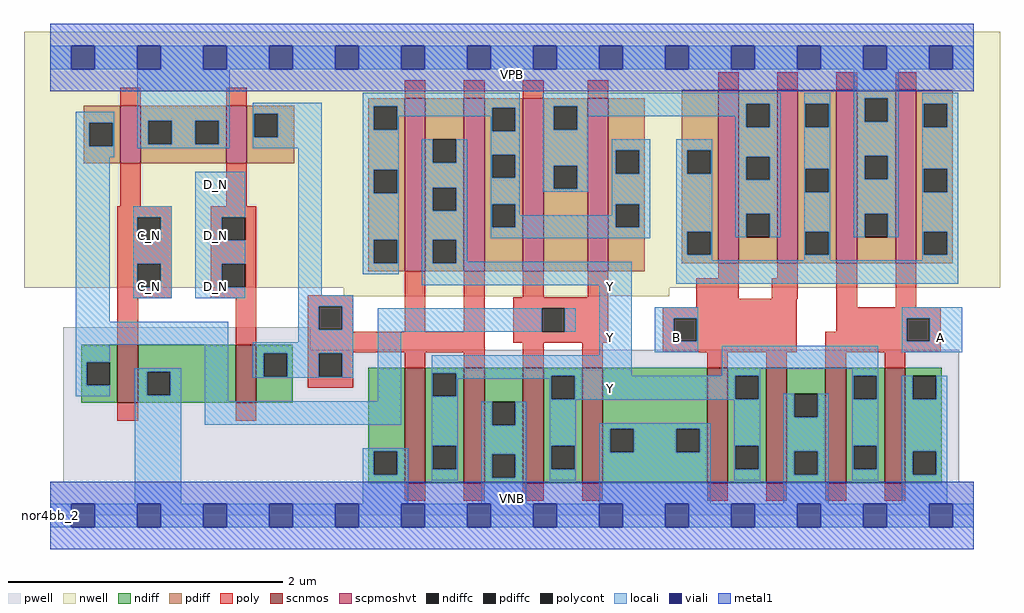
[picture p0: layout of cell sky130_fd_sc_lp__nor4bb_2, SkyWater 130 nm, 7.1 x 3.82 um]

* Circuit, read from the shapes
.subckt sky130_fd_sc_lp__nor4bb_2 A B C_N D_N VGND VNB VPB VPWR Y
XM1 VGND C_N n1 VNB sky130_fd_pr__nfet_01v8 w=0.42 l=0.15
XM2 n2 D_N VGND VNB sky130_fd_pr__nfet_01v8 w=0.42 l=0.15
XM3 Y n2 VGND VNB sky130_fd_pr__nfet_01v8 w=0.84 l=0.15 m=2
XM4 Y n1 VGND VNB sky130_fd_pr__nfet_01v8 w=0.84 l=0.15 m=2
XM5 Y B VGND VNB sky130_fd_pr__nfet_01v8 w=0.84 l=0.15 m=2
XM6 Y A VGND VNB sky130_fd_pr__nfet_01v8 w=0.84 l=0.15 m=2
XM7 VPWR C_N n1 VPB sky130_fd_pr__pfet_01v8_hvt w=0.42 l=0.15
XM8 n2 D_N VPWR VPB sky130_fd_pr__pfet_01v8_hvt w=0.42 l=0.15
XM9 Y n2 n3 VPB sky130_fd_pr__pfet_01v8_hvt w=1.26 l=0.15 m=2
XM10 n4 n1 n3 VPB sky130_fd_pr__pfet_01v8_hvt w=1.26 l=0.15 m=2
XM11 n4 B n5 VPB sky130_fd_pr__pfet_01v8_hvt w=1.26 l=0.15 m=2
XM12 VPWR A n5 VPB sky130_fd_pr__pfet_01v8_hvt w=1.26 l=0.15 m=2
.ends

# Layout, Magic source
magic
tech sky130A
magscale 1 2
<< nwell >>
rect -38 331 1382 704
rect 427 319 901 331
<< pwell >>
rect 19 241 379 274
rect 19 49 1323 241
rect 0 0 1344 49
<< scnmos >>
rect 98 164 128 248
rect 270 164 300 248
rect 516 47 546 215
rect 602 47 632 215
rect 688 47 718 215
rect 774 47 804 215
rect 956 47 986 215
rect 1042 47 1072 215
rect 1128 47 1158 215
rect 1214 47 1244 215
<< scpmoshvt >>
rect 102 512 132 596
rect 256 512 286 596
rect 516 355 546 607
rect 602 355 632 607
rect 688 355 718 607
rect 782 355 812 607
rect 972 367 1002 619
rect 1058 367 1088 619
rect 1144 367 1174 619
rect 1230 367 1260 619
<< ndiff >>
rect 45 223 98 248
rect 45 189 53 223
rect 87 189 98 223
rect 45 164 98 189
rect 128 209 270 248
rect 128 175 141 209
rect 175 175 270 209
rect 128 164 270 175
rect 300 236 353 248
rect 300 202 311 236
rect 345 202 353 236
rect 300 164 353 202
rect 463 93 516 215
rect 463 59 471 93
rect 505 59 516 93
rect 463 47 516 59
rect 546 207 602 215
rect 546 173 557 207
rect 591 173 602 207
rect 546 101 602 173
rect 546 67 557 101
rect 591 67 602 101
rect 546 47 602 67
rect 632 165 688 215
rect 632 131 643 165
rect 677 131 688 165
rect 632 89 688 131
rect 632 55 643 89
rect 677 55 688 89
rect 632 47 688 55
rect 718 203 774 215
rect 718 169 729 203
rect 763 169 774 203
rect 718 101 774 169
rect 718 67 729 101
rect 763 67 774 101
rect 718 47 774 67
rect 804 126 956 215
rect 804 92 815 126
rect 849 92 911 126
rect 945 92 956 126
rect 804 47 956 92
rect 986 203 1042 215
rect 986 169 997 203
rect 1031 169 1042 203
rect 986 101 1042 169
rect 986 67 997 101
rect 1031 67 1042 101
rect 986 47 1042 67
rect 1072 177 1128 215
rect 1072 143 1083 177
rect 1117 143 1128 177
rect 1072 93 1128 143
rect 1072 59 1083 93
rect 1117 59 1128 93
rect 1072 47 1128 59
rect 1158 203 1214 215
rect 1158 169 1169 203
rect 1203 169 1214 203
rect 1158 101 1214 169
rect 1158 67 1169 101
rect 1203 67 1214 101
rect 1158 47 1214 67
rect 1244 203 1297 215
rect 1244 169 1255 203
rect 1289 169 1297 203
rect 1244 93 1297 169
rect 1244 59 1255 93
rect 1289 59 1297 93
rect 1244 47 1297 59
<< pdiff >>
rect 49 571 102 596
rect 49 537 57 571
rect 91 537 102 571
rect 49 512 102 537
rect 132 574 256 596
rect 132 540 143 574
rect 177 540 211 574
rect 245 540 256 574
rect 132 512 256 540
rect 286 584 355 596
rect 286 550 297 584
rect 331 550 355 584
rect 286 512 355 550
rect 463 595 516 607
rect 463 561 471 595
rect 505 561 516 595
rect 463 503 516 561
rect 463 469 471 503
rect 505 469 516 503
rect 463 401 516 469
rect 463 367 471 401
rect 505 367 516 401
rect 463 355 516 367
rect 546 547 602 607
rect 546 513 557 547
rect 591 513 602 547
rect 546 477 602 513
rect 546 443 557 477
rect 591 443 602 477
rect 546 401 602 443
rect 546 367 557 401
rect 591 367 602 401
rect 546 355 602 367
rect 632 593 688 607
rect 632 559 643 593
rect 677 559 688 593
rect 632 525 688 559
rect 632 491 643 525
rect 677 491 688 525
rect 632 453 688 491
rect 632 419 643 453
rect 677 419 688 453
rect 632 355 688 419
rect 718 595 782 607
rect 718 561 733 595
rect 767 561 782 595
rect 718 509 782 561
rect 718 475 733 509
rect 767 475 782 509
rect 718 355 782 475
rect 812 531 865 607
rect 812 497 823 531
rect 857 497 865 531
rect 812 453 865 497
rect 812 419 823 453
rect 857 419 865 453
rect 812 355 865 419
rect 919 531 972 619
rect 919 497 927 531
rect 961 497 972 531
rect 919 413 972 497
rect 919 379 927 413
rect 961 379 972 413
rect 919 367 972 379
rect 1002 599 1058 619
rect 1002 565 1013 599
rect 1047 565 1058 599
rect 1002 522 1058 565
rect 1002 488 1013 522
rect 1047 488 1058 522
rect 1002 439 1058 488
rect 1002 405 1013 439
rect 1047 405 1058 439
rect 1002 367 1058 405
rect 1088 599 1144 619
rect 1088 565 1099 599
rect 1133 565 1144 599
rect 1088 504 1144 565
rect 1088 470 1099 504
rect 1133 470 1144 504
rect 1088 413 1144 470
rect 1088 379 1099 413
rect 1133 379 1144 413
rect 1088 367 1144 379
rect 1174 607 1230 619
rect 1174 573 1185 607
rect 1219 573 1230 607
rect 1174 523 1230 573
rect 1174 489 1185 523
rect 1219 489 1230 523
rect 1174 439 1230 489
rect 1174 405 1185 439
rect 1219 405 1230 439
rect 1174 367 1230 405
rect 1260 599 1313 619
rect 1260 565 1271 599
rect 1305 565 1313 599
rect 1260 504 1313 565
rect 1260 470 1271 504
rect 1305 470 1313 504
rect 1260 413 1313 470
rect 1260 379 1271 413
rect 1305 379 1313 413
rect 1260 367 1313 379
<< ndiffc >>
rect 53 189 87 223
rect 141 175 175 209
rect 311 202 345 236
rect 471 59 505 93
rect 557 173 591 207
rect 557 67 591 101
rect 643 131 677 165
rect 643 55 677 89
rect 729 169 763 203
rect 729 67 763 101
rect 815 92 849 126
rect 911 92 945 126
rect 997 169 1031 203
rect 997 67 1031 101
rect 1083 143 1117 177
rect 1083 59 1117 93
rect 1169 169 1203 203
rect 1169 67 1203 101
rect 1255 169 1289 203
rect 1255 59 1289 93
<< pdiffc >>
rect 57 537 91 571
rect 143 540 177 574
rect 211 540 245 574
rect 297 550 331 584
rect 471 561 505 595
rect 471 469 505 503
rect 471 367 505 401
rect 557 513 591 547
rect 557 443 591 477
rect 557 367 591 401
rect 643 559 677 593
rect 643 491 677 525
rect 643 419 677 453
rect 733 561 767 595
rect 733 475 767 509
rect 823 497 857 531
rect 823 419 857 453
rect 927 497 961 531
rect 927 379 961 413
rect 1013 565 1047 599
rect 1013 488 1047 522
rect 1013 405 1047 439
rect 1099 565 1133 599
rect 1099 470 1133 504
rect 1099 379 1133 413
rect 1185 573 1219 607
rect 1185 489 1219 523
rect 1185 405 1219 439
rect 1271 565 1305 599
rect 1271 470 1305 504
rect 1271 379 1305 413
<< poly >>
rect 102 596 132 622
rect 256 596 286 622
rect 516 607 546 633
rect 602 607 632 633
rect 688 607 718 633
rect 782 607 812 633
rect 972 619 1002 645
rect 1058 619 1088 645
rect 1144 619 1174 645
rect 1230 619 1260 645
rect 102 450 132 512
rect 256 450 286 512
rect 98 434 177 450
rect 98 400 127 434
rect 161 400 177 434
rect 98 366 177 400
rect 98 332 127 366
rect 161 332 177 366
rect 98 316 177 332
rect 234 434 300 450
rect 234 400 250 434
rect 284 400 300 434
rect 234 366 300 400
rect 234 332 250 366
rect 284 332 300 366
rect 234 316 300 332
rect 98 248 128 316
rect 270 248 300 316
rect 375 304 441 320
rect 375 270 391 304
rect 425 270 441 304
rect 375 267 441 270
rect 516 267 546 355
rect 602 267 632 355
rect 688 317 718 355
rect 782 317 812 355
rect 972 345 1002 367
rect 1058 345 1088 367
rect 375 237 632 267
rect 674 301 812 317
rect 940 315 1002 345
rect 1050 315 1088 345
rect 940 303 1086 315
rect 674 267 715 301
rect 749 267 812 301
rect 674 251 812 267
rect 891 287 1086 303
rect 891 253 907 287
rect 941 253 1086 287
rect 1144 303 1174 367
rect 1230 303 1260 367
rect 1144 287 1296 303
rect 1144 267 1246 287
rect 375 236 441 237
rect 375 202 391 236
rect 425 202 441 236
rect 516 215 546 237
rect 602 215 632 237
rect 688 215 718 251
rect 774 215 804 251
rect 891 237 1086 253
rect 1128 253 1246 267
rect 1280 253 1296 287
rect 1128 237 1296 253
rect 956 215 986 237
rect 1042 215 1072 237
rect 1128 215 1158 237
rect 1214 215 1244 237
rect 375 186 441 202
rect 98 138 128 164
rect 270 138 300 164
rect 516 21 546 47
rect 602 21 632 47
rect 688 21 718 47
rect 774 21 804 47
rect 956 21 986 47
rect 1042 21 1072 47
rect 1128 21 1158 47
rect 1214 21 1244 47
<< polycont >>
rect 127 400 161 434
rect 127 332 161 366
rect 250 400 284 434
rect 250 332 284 366
rect 391 270 425 304
rect 715 267 749 301
rect 907 253 941 287
rect 391 202 425 236
rect 1246 253 1280 287
<< locali >>
rect 0 649 31 683
rect 65 649 127 683
rect 161 649 223 683
rect 257 649 319 683
rect 353 649 415 683
rect 449 649 511 683
rect 545 649 607 683
rect 641 649 703 683
rect 737 649 799 683
rect 833 649 895 683
rect 929 649 991 683
rect 1025 649 1087 683
rect 1121 649 1183 683
rect 1217 649 1279 683
rect 1313 649 1344 683
rect 37 571 93 587
rect 37 537 57 571
rect 91 537 93 571
rect 37 521 93 537
rect 127 574 261 649
rect 127 540 143 574
rect 177 540 211 574
rect 245 540 261 574
rect 127 534 261 540
rect 295 584 395 600
rect 295 550 297 584
rect 331 550 395 584
rect 295 534 395 550
rect 37 282 87 521
rect 121 434 177 450
rect 121 400 127 434
rect 161 400 177 434
rect 121 366 177 400
rect 121 332 127 366
rect 161 332 177 366
rect 121 316 177 332
rect 211 434 284 500
rect 211 400 250 434
rect 211 366 284 400
rect 211 332 250 366
rect 211 316 284 332
rect 361 320 395 534
rect 455 595 683 615
rect 455 561 471 595
rect 505 593 683 595
rect 505 581 643 593
rect 505 561 507 581
rect 455 503 507 561
rect 641 559 643 581
rect 677 559 683 593
rect 455 469 471 503
rect 505 469 507 503
rect 455 401 507 469
rect 455 367 471 401
rect 505 367 507 401
rect 455 351 507 367
rect 541 513 557 547
rect 591 513 607 547
rect 541 477 607 513
rect 541 443 557 477
rect 591 443 607 477
rect 541 401 607 443
rect 641 525 683 559
rect 641 491 643 525
rect 677 491 683 525
rect 641 453 683 491
rect 717 599 1063 615
rect 717 595 1013 599
rect 717 561 733 595
rect 767 581 1013 595
rect 767 561 783 581
rect 717 509 783 561
rect 997 565 1013 581
rect 1047 565 1063 599
rect 717 475 733 509
rect 767 475 783 509
rect 717 471 783 475
rect 817 531 873 547
rect 817 497 823 531
rect 857 497 873 531
rect 641 419 643 453
rect 677 437 683 453
rect 817 453 873 497
rect 817 437 823 453
rect 677 419 823 437
rect 857 419 873 453
rect 641 403 873 419
rect 911 531 963 547
rect 911 497 927 531
rect 961 497 963 531
rect 911 413 963 497
rect 541 367 557 401
rect 591 369 607 401
rect 911 379 927 413
rect 961 379 963 413
rect 997 522 1063 565
rect 997 488 1013 522
rect 1047 488 1063 522
rect 997 439 1063 488
rect 997 405 1013 439
rect 1047 405 1063 439
rect 1097 599 1135 615
rect 1097 565 1099 599
rect 1133 565 1135 599
rect 1097 504 1135 565
rect 1097 470 1099 504
rect 1133 470 1135 504
rect 1097 413 1135 470
rect 911 371 963 379
rect 1097 379 1099 413
rect 1133 379 1135 413
rect 1169 607 1235 649
rect 1169 573 1185 607
rect 1219 573 1235 607
rect 1169 523 1235 573
rect 1169 489 1185 523
rect 1219 489 1235 523
rect 1169 439 1235 489
rect 1169 405 1185 439
rect 1219 405 1235 439
rect 1269 599 1321 615
rect 1269 565 1271 599
rect 1305 565 1321 599
rect 1269 504 1321 565
rect 1269 470 1271 504
rect 1305 470 1321 504
rect 1269 413 1321 470
rect 1097 371 1135 379
rect 1269 379 1271 413
rect 1305 379 1321 413
rect 1269 371 1321 379
rect 591 367 846 369
rect 541 335 846 367
rect 911 337 1321 371
rect 361 304 441 320
rect 37 248 259 282
rect 361 270 391 304
rect 425 270 441 304
rect 361 252 441 270
rect 37 223 87 248
rect 37 189 53 223
rect 37 173 87 189
rect 123 209 191 214
rect 123 175 141 209
rect 175 175 191 209
rect 123 17 191 175
rect 225 166 259 248
rect 295 236 441 252
rect 295 202 311 236
rect 345 202 391 236
rect 425 202 441 236
rect 295 200 441 202
rect 477 267 715 301
rect 749 267 765 301
rect 477 166 511 267
rect 799 233 846 335
rect 880 287 943 303
rect 880 253 907 287
rect 941 253 943 287
rect 880 237 943 253
rect 1239 287 1327 303
rect 1239 253 1246 287
rect 1280 253 1327 287
rect 225 132 511 166
rect 555 207 846 233
rect 555 173 557 207
rect 591 203 846 207
rect 977 213 1205 247
rect 1239 237 1327 253
rect 977 203 1033 213
rect 591 199 729 203
rect 591 173 593 199
rect 555 101 593 173
rect 727 169 729 199
rect 763 169 997 203
rect 1031 169 1033 203
rect 1167 203 1205 213
rect 727 168 1033 169
rect 455 93 521 98
rect 455 59 471 93
rect 505 59 521 93
rect 455 17 521 59
rect 555 67 557 101
rect 591 67 593 101
rect 555 51 593 67
rect 627 131 643 165
rect 677 131 693 165
rect 627 89 693 131
rect 627 55 643 89
rect 677 55 693 89
rect 627 17 693 55
rect 727 101 765 168
rect 727 67 729 101
rect 763 67 765 101
rect 727 51 765 67
rect 799 126 961 134
rect 799 92 815 126
rect 849 92 911 126
rect 945 92 961 126
rect 799 17 961 92
rect 995 101 1033 168
rect 995 67 997 101
rect 1031 67 1033 101
rect 995 51 1033 67
rect 1067 143 1083 177
rect 1117 143 1133 177
rect 1067 93 1133 143
rect 1067 59 1083 93
rect 1117 59 1133 93
rect 1067 17 1133 59
rect 1167 169 1169 203
rect 1203 169 1205 203
rect 1167 101 1205 169
rect 1167 67 1169 101
rect 1203 67 1205 101
rect 1167 51 1205 67
rect 1239 169 1255 203
rect 1289 169 1305 203
rect 1239 93 1305 169
rect 1239 59 1255 93
rect 1289 59 1305 93
rect 1239 17 1305 59
rect 0 -17 31 17
rect 65 -17 127 17
rect 161 -17 223 17
rect 257 -17 319 17
rect 353 -17 415 17
rect 449 -17 511 17
rect 545 -17 607 17
rect 641 -17 703 17
rect 737 -17 799 17
rect 833 -17 895 17
rect 929 -17 991 17
rect 1025 -17 1087 17
rect 1121 -17 1183 17
rect 1217 -17 1279 17
rect 1313 -17 1344 17
<< viali >>
rect 31 649 65 683
rect 127 649 161 683
rect 223 649 257 683
rect 319 649 353 683
rect 415 649 449 683
rect 511 649 545 683
rect 607 649 641 683
rect 703 649 737 683
rect 799 649 833 683
rect 895 649 929 683
rect 991 649 1025 683
rect 1087 649 1121 683
rect 1183 649 1217 683
rect 1279 649 1313 683
rect 31 -17 65 17
rect 127 -17 161 17
rect 223 -17 257 17
rect 319 -17 353 17
rect 415 -17 449 17
rect 511 -17 545 17
rect 607 -17 641 17
rect 703 -17 737 17
rect 799 -17 833 17
rect 895 -17 929 17
rect 991 -17 1025 17
rect 1087 -17 1121 17
rect 1183 -17 1217 17
rect 1279 -17 1313 17
<< metal1 >>
rect 0 683 1344 715
rect 0 649 31 683
rect 65 649 127 683
rect 161 649 223 683
rect 257 649 319 683
rect 353 649 415 683
rect 449 649 511 683
rect 545 649 607 683
rect 641 649 703 683
rect 737 649 799 683
rect 833 649 895 683
rect 929 649 991 683
rect 1025 649 1087 683
rect 1121 649 1183 683
rect 1217 649 1279 683
rect 1313 649 1344 683
rect 0 617 1344 649
rect 0 17 1344 49
rect 0 -17 31 17
rect 65 -17 127 17
rect 161 -17 223 17
rect 257 -17 319 17
rect 353 -17 415 17
rect 449 -17 511 17
rect 545 -17 607 17
rect 641 -17 703 17
rect 737 -17 799 17
rect 833 -17 895 17
rect 929 -17 991 17
rect 1025 -17 1087 17
rect 1121 -17 1183 17
rect 1217 -17 1279 17
rect 1313 -17 1344 17
rect 0 -49 1344 -17
<< labels >>
flabel pwell s 0 0 1344 49 0 FreeSans 200 0 0 0 VNB
port 6 nsew ground bidirectional
flabel nwell s 0 617 1344 666 0 FreeSans 200 0 0 0 VPB
port 7 nsew power bidirectional
rlabel comment s 0 0 0 0 4 nor4bb_2
flabel metal1 s 0 617 1344 666 0 FreeSans 340 0 0 0 VPWR
port 8 nsew power bidirectional
flabel metal1 s 0 0 1344 49 0 FreeSans 340 0 0 0 VGND
port 5 nsew ground bidirectional
flabel locali s 1279 242 1313 276 0 FreeSans 340 0 0 0 A
port 1 nsew signal input
flabel locali s 895 242 929 276 0 FreeSans 340 0 0 0 B
port 2 nsew signal input
flabel locali s 127 316 161 350 0 FreeSans 340 0 0 0 C_N
port 3 nsew signal input
flabel locali s 127 390 161 424 0 FreeSans 340 0 0 0 C_N
port 3 nsew signal input
flabel locali s 223 316 257 350 0 FreeSans 340 0 0 0 D_N
port 4 nsew signal input
flabel locali s 223 390 257 424 0 FreeSans 340 0 0 0 D_N
port 4 nsew signal input
flabel locali s 223 464 257 498 0 FreeSans 340 0 0 0 D_N
port 4 nsew signal input
flabel locali s 799 168 833 202 0 FreeSans 340 0 0 0 Y
port 9 nsew signal output
flabel locali s 799 242 833 276 0 FreeSans 340 0 0 0 Y
port 9 nsew signal output
flabel locali s 799 316 833 350 0 FreeSans 340 0 0 0 Y
port 9 nsew signal output
<< properties >>
string LEFsite unit
string LEFclass CORE
string FIXED_BBOX 0 0 1344 666
string GDS_FILE $PDKPATH/libs.ref/sky130_fd_sc_lp/gds/sky130_fd_sc_lp.gds
string LEFsymmetry X Y R90
string GDS_END 3396978
string GDS_START 3385662
<< end >>
